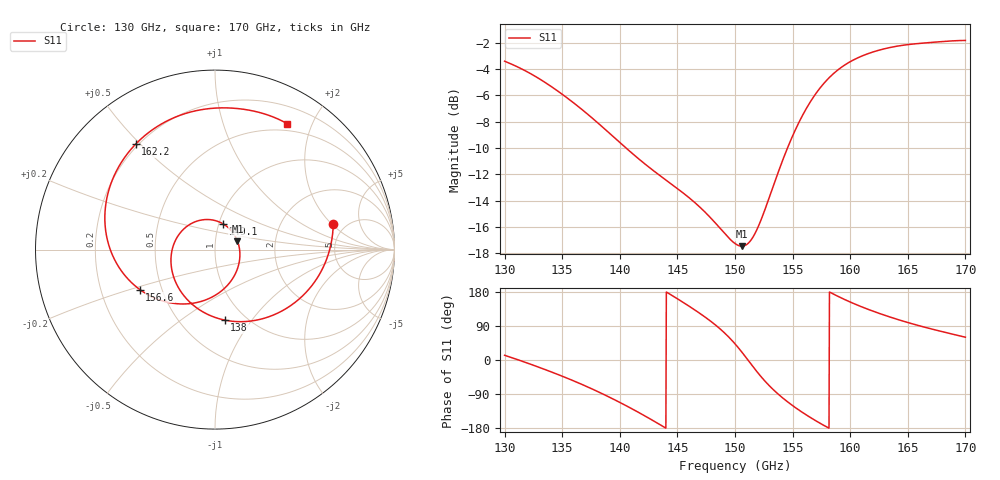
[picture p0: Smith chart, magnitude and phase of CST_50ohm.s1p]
! TOUCHSTONE file generated by CST MICROWAVE STUDIO
! Date and time: Thu Nov 19 20:06:15 2026
! Project name: WideGround_Delivery.cst
! Parameters = {array_spacing=1.12; eps_r=3.5; feed_width=0.1688; ground_length=1.5; ground_width=3.15; inset_gap=0.02; inset_length=0.165; junction_y=-0.405; launch_length=0.5; loss_tangent=0.0027; mesh_box=54; mesh_near=36; metal_thickness=0.002; patch_length=0.5148; patch_width=0.667; port_halfwi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
! Header version: 2024
! Port assignment regex: !\s*Touchstone port\s*([0-9]+)\s*=\s*(CST MWS port|CST DES external port|CST DES block port)\s*(.+)\s* \(\"(.*)\"\)(\s*mode\s*([0-9]+))?.*
! Touchstone port assignment:
! Touchstone port 1 = CST MWS port 1 ("50ohm_microstrip")
# GHz S RI R 50
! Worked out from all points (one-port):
!   1001 points, 130 GHz to 170 GHz, reference 50 ohm
!   lowest |S11| = -17.5 dB at 150.6 GHz (marker M1), VSWR 1.31, Z = 64 + j6.15 ohm
!   |S11| at or under -10 dB: 140.5 GHz to 154.6 GHz (14.03 GHz wide, 9.51 % of centre)
!   S11 on the Smith chart (normalised r, x): 130 GHz: 3.97, +2.11; 138 GHz: 0.80, -0.75; 149.1 GHz: 1.05, +0.31; 156.6 GHz: 0.38, -0.22; 162.2 GHz: 0.19, +0.49; 170 GHz: 0.41, +1.65
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130  0.6589 0.1451
132.32  0.59 -0.1237
133.72  0.49 -0.2559
135  0.3713 -0.3428
136.52  0.2116 -0.3964
138  0.0545 -0.3929
140  -0.1237 -0.3076
142.52  -0.2392 -0.1194
145  -0.2102 0.0701
147.16  -0.0882 0.1622
149.08  0.0469 0.1424
150  0.1007 0.093
150.6  0.1253 0.0472
151.56  0.1383 -0.0435
152.76  0.0936 -0.1686
154  -0.0313 -0.2717
155  -0.1771 -0.303
155.76  -0.2984 -0.284
156.56  -0.419 -0.2224
157.44  -0.5256 -0.1128
158.28  -0.5899 0.0189
159.12  -0.6136 0.1607
160  -0.5985 0.305
162.16  -0.4415 0.5882
163.56  -0.2899 0.7047
165  -0.1205 0.7705
167.4  0.1487 0.7833
170  0.4027 0.7014
